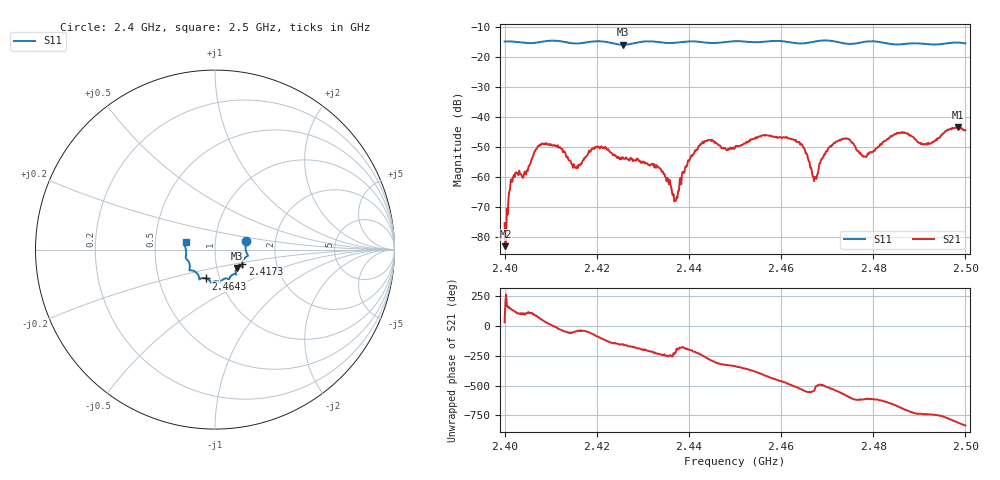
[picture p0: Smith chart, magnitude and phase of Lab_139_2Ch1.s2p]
# Hz S RI R 50
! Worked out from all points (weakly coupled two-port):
!   601 points, 2.4 GHz to 2.5 GHz, reference 50 ohm
!   highest |S21| = -43.38 dB at 2.4983 GHz (marker M1); lowest = -83.1 dB at 2.4002 GHz (marker M2)
!   lowest |S11| = -15.9 dB at 2.4257 GHz (marker M3), VSWR 1.38, Z = 62.4 - j13.1 ohm
!   |S11| at or under -10 dB: start of sweep to end of sweep
!   S12 and S22 are empty: the file has one direction only
!   S11 on the Smith chart (normalised r, x): 2.4 GHz: 1.41, +0.14; 2.4173 GHz: 1.34, -0.23; 2.4643 GHz: 0.86, -0.28; 2.5 GHz: 0.72, +0.06
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2.4e9  0.1738 0.0493  0.000145 8.97e-05  0 0  0 0
2.400167e9  0.1743 0.0488  -6.66e-05 -2.26e-05  0 0  0 0
2.401833e9  0.1754 0.0419  -0.000642 0.000747  0 0  0 0
2.4045e9  0.1705 0.0191  -0.000392 0.00114  0 0  0 0
2.407667e9  0.1765 -0.018  0.00153 0.0031  0 0  0 0
2.416667e9  0.1526 -0.0749  0.00123 -0.00111  0 0  0 0
2.417333e9  0.1521 -0.0824  0.0016 -0.00136  0 0  0 0
2.4205e9  0.1548 -0.097  -0.000205 -0.00315  0 0  0 0
2.425667e9  0.1225 -0.1025  -0.00185 -0.00101  0 0  0 0
2.433333e9  0.1126 -0.1367  -0.000859 0.0012  0 0  0 0
2.437e9  0.0872 -0.1486  -0.000262 0.000312  0 0  0 0
2.4425e9  0.0724 -0.1628  -0.00182 0.00302  0 0  0 0
2.45e9  0.0293 -0.1808  0.00288 0.00115  0 0  0 0
2.456333e9  -0.00928 -0.179  0.00295 -0.00402  0 0  0 0
2.464333e9  -0.0501 -0.1604  -0.00349 -0.000648  0 0  0 0
2.466667e9  -0.0762 -0.1596  -0.00123 0.000193  0 0  0 0
2.472833e9  -0.0903 -0.1484  -0.00386 0.00124  0 0  0 0
2.478167e9  -0.1364 -0.1159  -0.000567 0.00212  0 0  0 0
2.483333e9  -0.1404 -0.0896  0.00114 0.00417  0 0  0 0
2.491333e9  -0.1614 -0.0319  0.00329 -0.00122  0 0  0 0
2.498333e9  -0.1702 0.0334  4.25e-07 -0.00678  0 0  0 0
2.5e9  -0.1634 0.0417  -0.0025 -0.00548  0 0  0 0
